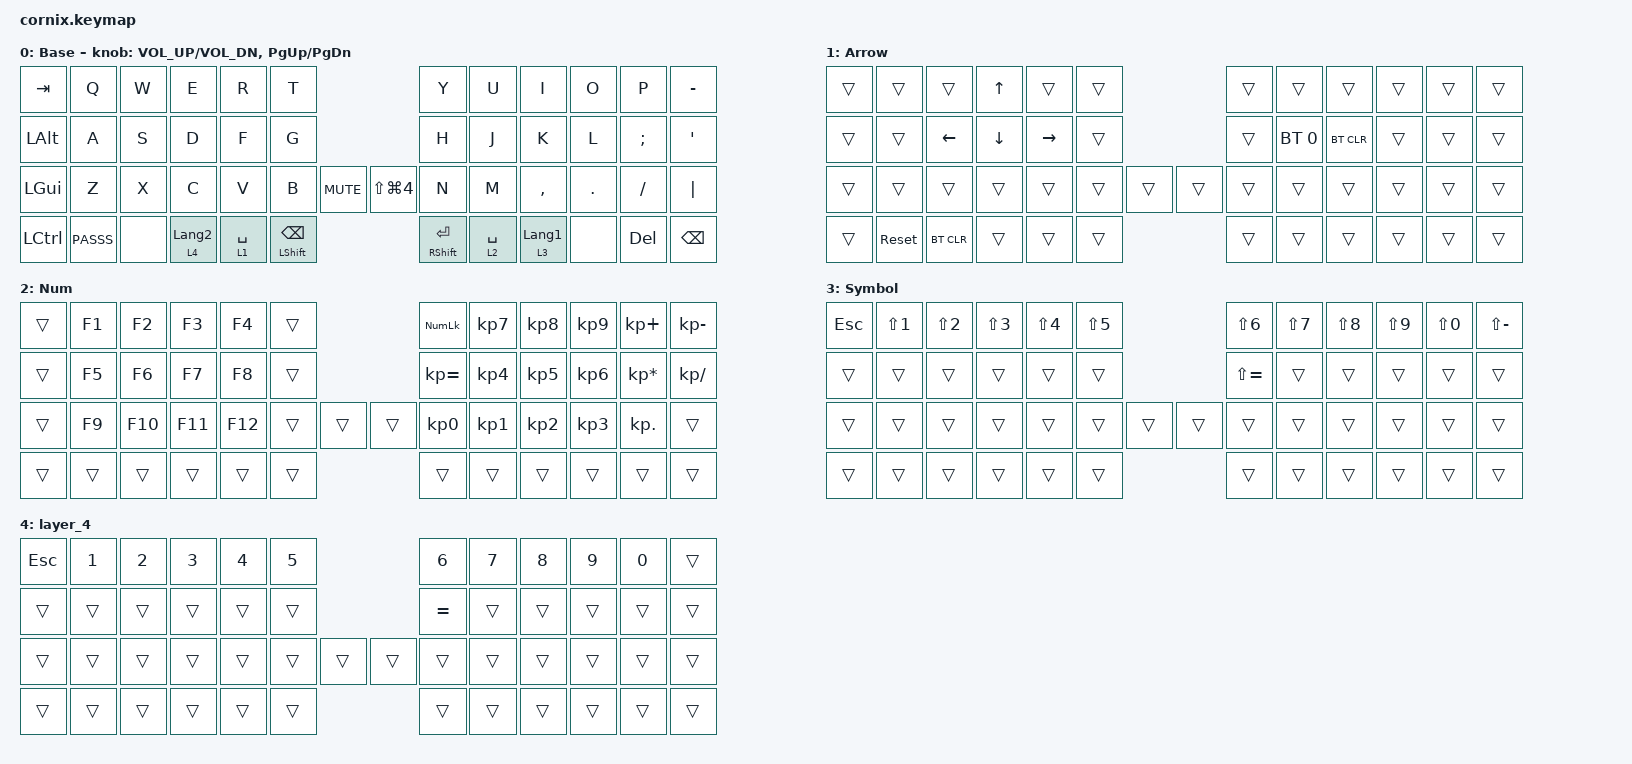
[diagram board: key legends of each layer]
/*
 * Copyright (c) 2020 The ZMK Contributors
 *
 * SPDX-License-Identifier: MIT
 */

#include "zmk-helpers/helper.h"
#include "includes/cornix54.h"

// tap windows for ctl alt and gui

#define HM_TAPPING_TERM 250
#define HM_TAPPING_REPEAT 210

// quick tapping for shift

#define HM_TAPPING_TERM_FAST 200
#define HM_PRIOR_IDLE 70
#define BASE 0
#define WIN 1
#define LOWER 2
#define RAISE 3
#define ADJUST 4
#define NAVI   5
#define NUM    6
#define DEBUG  7

// https://github.com/urob/zmk-config/tree/main#timeless-homerow-mods

#define KEYS_L LT0 LT1 LT2 LT3 LT4 LT5 LM0 LM1 LM2 LM3 LM4 LM5 LB0 LB1 LB2 LB3 LB4 LB5  // left hand
#define KEYS_R RT0 RT1 RT2 RT3 RT4 RT5 RM0 RM1 RM2 RM3 RM4 RM5 RB0 RB1 RB2 RB3 RB4 RB5  // right hand
#define THUMBS LH1 LH0 RH0 RH1
#define KEYS_T LH1 LH0 RH0 RH1
#define ZMK_POINTING_DEFAULT_SCRL_VAL 15

#include <behaviors.dtsi>
#include <dt-bindings/zmk/bt.h>
#include <dt-bindings/zmk/keys.h>

/ {
    // Activate ADJUST layer by pressing raise and lower

    behaviors {
        hm_l: homerow_mods_left {
            compatible = "zmk,behavior-hold-tap";
            #binding-cells = <2>;
            bindings = <&kp>, <&kp>;

            flavor = "balanced";
            tapping-term-ms = <HM_TAPPING_TERM>;
            quick-tap-ms = <200>;                // repeat on tap-into-hold
            require-prior-idle-ms = <HM_PRIOR_IDLE>;
            hold-trigger-key-positions = <KEYS_R KEYS_T>;
            hold-trigger-on-release;
        };

        hm_r: homerow_mods_right {
            compatible = "zmk,behavior-hold-tap";
            #binding-cells = <2>;
            bindings = <&kp>, <&kp>;

            flavor = "balanced";
            tapping-term-ms = <HM_TAPPING_TERM>;
            quick-tap-ms = <200>;
            require-prior-idle-ms = <HM_PRIOR_IDLE>;
            hold-trigger-key-positions = <KEYS_L KEYS_T>;
            hold-trigger-on-release;
        };

        // Positional Homerow mods for shift
        // Use faster tapping term and disable some features that may
        // cause false negatives.

        hm_shift_l: hm_shift_l {
            compatible = "zmk,behavior-hold-tap";
            #binding-cells = <2>;
            bindings = <&kp>, <&kp>;

            //flavor = "balanced";

            flavor = "balanced";
            tapping-term-ms = <HM_TAPPING_TERM_FAST>;
            quick-tap-ms = <200>;
            require-prior-idle-ms = <HM_PRIOR_IDLE>;
            hold-trigger-key-positions = <KEYS_R KEYS_T>;
            hold-trigger-on-release;
        };

        hm_shift_r: hm_shift_r {
            compatible = "zmk,behavior-hold-tap";
            #binding-cells = <2>;
            bindings = <&kp>, <&kp>;

            flavor = "balanced";
            tapping-term-ms = <HM_TAPPING_TERM_FAST>;
            quick-tap-ms = <200>;
            require-prior-idle-ms = <HM_PRIOR_IDLE>;
            hold-trigger-key-positions = <KEYS_L KEYS_T>;

            // for quick tapping; shift+~

            hold-trigger-on-release;
        };

        /*
         * Non-Positional Homerow Mods
         * Used for &mm_grescm_gui behavior on left hand.
         *
         * Usage: &hm LSHFT T
         * Tap: T
         * Tap-Tap-Hold: Repeat T
         * Hold: LSHIFT
         */

        hm: homerow_mods {
            compatible = "zmk,behavior-hold-tap";
            #binding-cells = <2>;
            bindings = <&kp>, <&kp>;

            flavor = "balanced";
            tapping-term-ms = <HM_TAPPING_TERM>;
            quick-tap-ms = <200>;
        };

        lt: layer_tap {
            compatible = "zmk,behavior-hold-tap";
            #binding-cells = <2>;
            bindings = <&mo>, <&kp>;

            flavor = "hold-preferred";
            tapping-term-ms = <HM_TAPPING_TERM>;
            quick-tap-ms = <200>;
        };
    };

    conditional_layers { compatible = "zmk,conditional-layers"; };

    combos {
        compatible = "zmk,combos";

        Layer3 {
            bindings = <&mo 4>;
            key-positions = <46 42>;
        };
    };

    macros {
        PASSS: PASSS {
            compatible = "zmk,behavior-macro";
            #binding-cells = <0>;
            bindings = <&kp KP_NUMBER_0 &kp KP_NUMBER_5 &kp KP_NUMBER_2 &kp KP_NUMBER_1 &kp ENTER>;
            label = "PASSS";
        };
    };

    keymap {
        compatible = "zmk,keymap";

        default_layer {
            display-name = "Base";

            // ------------------------------------------------------------------------------------------------------------
            // |   `   |  1  |  2  |  3   |  4   |  5   |                   |  6   |  7    |  8    |  9   |   0   |       |
            // |  ESC  |  Q  |  W  |  E   |  R   |  T   |                   |  Y   |  U    |  I    |  O   |   P   | BKSPC |
            // |  TAB  |  A  |  S  |  D   |  F   |  G   |                   |  H   |  J    |  K    |  L   |   ;   |   '   |
            // | SHIFT |  Z  |  X  |  C   |  V   |  B   |  MUTE  |  |       |  N   |  M    |  ,    |  .   |   /   | SHIFT |
            //               | GUI | ALT  | CTRL | LOWER|  ENTER |  | SPACE | RAISE| CTRL  | ALT   | GUI  |

            bindings = <
&kp TAB    &kp Q   &kp W  &kp E             &kp R        &kp T                                                       &kp Y                  &kp U        &kp I             &kp O    &kp P       &kp MINUS
&kp LALT   &kp A   &kp S  &kp D             &kp F        &kp G                                                       &kp H                  &kp J        &kp K             &kp L    &kp SEMI    &kp APOS
&kp LGUI   &kp Z   &kp X  &kp C             &kp V        &kp B                     &kp K_MUTE  &kp LS(LG(NUMBER_4))  &kp N                  &kp M        &kp COMMA         &kp DOT  &kp FSLH    &kp PIPE
&kp LCTRL  &PASSS  &none  &lt 4 LANGUAGE_2  &lt 1 SPACE  &mt LEFT_SHIFT BACKSPACE                                    &mt RIGHT_SHIFT ENTER  &lt 2 SPACE  &lt 3 LANGUAGE_1  &none    &kp DELETE  &kp BSPC
            >;

            sensor-bindings = <&inc_dec_kp C_VOL_UP C_VOL_DN &inc_dec_kp PG_UP PG_DN>;
        };

        Arrow_layer {
            // Recovery keys on the left (central) half, usable while the right half is offline.
            // Hold the Arrow thumb key, then press a left palm key on the bottom row:
            //   2nd from the left edge -> &sys_reset  : reboot the left half and search for the right half again
            //   3rd from the left edge -> &bt BT_CLR  : forget the host pairing of the current Bluetooth profile
            // The corner key stays transparent so Ctrl + arrows keeps working.

            bindings = <
&trans  &trans      &trans      &kp UP    &trans     &trans                  &trans  &trans        &trans      &trans  &trans  &trans
&trans  &trans      &kp LEFT    &kp DOWN  &kp RIGHT  &trans                  &trans  &bt BT_SEL 0  &bt BT_CLR  &trans  &trans  &trans
&trans  &trans      &trans      &trans    &trans     &trans  &trans  &trans  &trans  &trans        &trans      &trans  &trans  &trans
&trans  &sys_reset  &bt BT_CLR  &trans    &trans     &trans                  &trans  &trans        &trans      &trans  &trans  &trans
            >;

            label = "Arrow";
        };

        Num_layer {
            bindings = <
&trans  &kp F1  &kp F2   &kp F3   &kp F4   &trans                  &kp KP_NUMLOCK   &kp KP_NUMBER_7  &kp KP_NUMBER_8  &kp KP_NUMBER_9  &kp KP_PLUS      &kp KP_MINUS
&trans  &kp F5  &kp F6   &kp F7   &kp F8   &trans                  &kp KP_EQUAL     &kp KP_NUMBER_4  &kp KP_NUMBER_5  &kp KP_NUMBER_6  &kp KP_MULTIPLY  &kp KP_DIVIDE
&trans  &kp F9  &kp F10  &kp F11  &kp F12  &trans  &trans  &trans  &kp KP_NUMBER_0  &kp KP_NUMBER_1  &kp KP_NUMBER_2  &kp KP_NUMBER_3  &kp KP_DOT       &trans
&trans  &trans  &trans   &trans   &trans   &trans                  &trans           &trans           &trans           &trans           &trans           &trans
            >;

            label = "Num";
        };

        Symbol_layer {
            bindings = <
&kp ESCAPE  &kp LS(N1)  &kp LS(N2)  &kp LS(N3)  &kp LS(N4)  &kp LS(N5)                  &kp LS(N6)     &kp LS(N7)  &kp LS(N8)  &kp LS(N9)  &kp LS(N0)  &kp LS(MINUS)
&trans      &trans      &trans      &trans      &trans      &trans                      &kp LS(EQUAL)  &trans      &trans      &trans      &trans      &trans
&trans      &trans      &trans      &trans      &trans      &trans      &trans  &trans  &trans         &trans      &trans      &trans      &trans      &trans
&trans      &trans      &trans      &trans      &trans      &trans                      &trans         &trans      &trans      &trans      &trans      &trans
            >;

            label = "Symbol";
        };

        layer_4 {
            bindings = <
&kp ESCAPE  &kp N1  &kp N2  &kp N3  &kp N4  &kp N5                  &kp N6     &kp N7  &kp N8  &kp N9  &kp N0  &trans
&trans      &trans  &trans  &trans  &trans  &trans                  &kp EQUAL  &trans  &trans  &trans  &trans  &trans
&trans      &trans  &trans  &trans  &trans  &trans  &trans  &trans  &trans     &trans  &trans  &trans  &trans  &trans
&trans      &trans  &trans  &trans  &trans  &trans                  &trans     &trans  &trans  &trans  &trans  &trans
            >;
        };
    };
};
